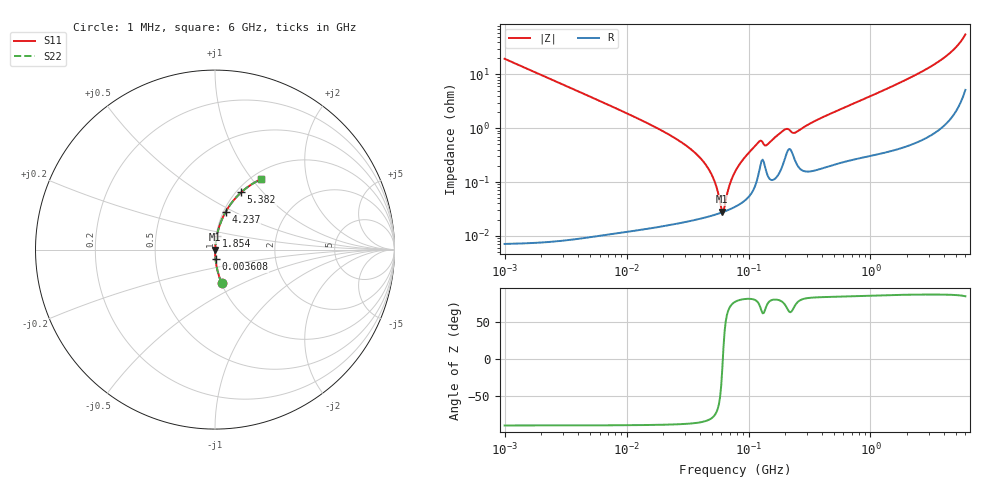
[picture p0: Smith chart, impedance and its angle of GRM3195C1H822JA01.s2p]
!Murata Part Number: GRM3195C1H822JA01
!These Parameters are Measured in Series Mode Connection
!Data Generated on Mar 30, 2021
!  o--ll--o
!Port1  Port2
!  o------o
!Operation Temp=25[degC], DC Bias Voltage=0[V]
!Freq. Start=1000[kHz] Stop=6[GHz] 401[Steps]
# Hz S RI R 50
!Freq.(Hz) S11(Real) S11(Imag) S21(Real) S21(Imag) S12(Real) S12(Imag) S22(Real) S22(Imag)
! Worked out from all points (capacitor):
!   401 points, 1 MHz to 6 GHz, reference 50 ohm
!   read as one part in series: C = 8.12 nF near 1.044 MHz
!   lowest |Z| = 28 mohm at 60.98 MHz (marker M1)
!   series resonance near 61.57 MHz, so ESL is about 820 pH
!   S11 on the Smith chart (normalised r, x): 1 MHz: 1.00, -0.39; 3.608 MHz: 1.00, -0.11; 1.854 GHz: 1.01, +0.15; 4.237 GHz: 1.03, +0.45; 5.382 GHz: 1.06, +0.77; 6 GHz: 1.10, +1.11
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1000000  0.037 -0.1887  0.963 0.1887  0.963 0.1887  0.037 -0.1887
3608090  0.003 -0.054  0.997 0.054  0.997 0.054  0.003 -0.054
4293785  0.00215 -0.0453  0.9979 0.0453  0.9979 0.0453  0.00215 -0.0453
1.843659e7  0.000239 -0.00965  0.9998 0.00965  0.9998 0.00965  0.000239 -0.00965
3.040356e7  0.000204 -0.00486  0.9998 0.00486  0.9998 0.00486  0.000204 -0.00486
4.213132e7  0.000219 -0.00247  0.9998 0.00247  0.9998 0.00247  0.000219 -0.00247
5.124051e7  0.000242 -0.00118  0.9998 0.00118  0.9998 0.00118  0.000242 -0.00118
6.097846e7  0.000273 -6.13e-05  0.9997 6.13e-05  0.9997 6.13e-05  0.000273 -6.13e-05
6.368941e7  0.000284 0.000218  0.9997 -0.000218  0.9997 -0.000218  0.000284 0.000218
6.947823e7  0.000308 0.000782  0.9997 -0.000782  0.9997 -0.000782  0.000308 0.000782
7.745967e7  0.000347 0.00151  0.9997 -0.00151  0.9997 -0.00151  0.000347 0.00151
9.218041e7  0.00045 0.00275  0.9996 -0.00275  0.9996 -0.00275  0.00045 0.00275
1.223006e8  0.00163 0.00542  0.9984 -0.00542  0.9984 -0.00542  0.00163 0.00542
1.424119e8  0.0014 0.00475  0.9986 -0.00475  0.9986 -0.00475  0.0014 0.00475
1.973453e8  0.00266 0.00898  0.9973 -0.00898  0.9973 -0.00898  0.00266 0.00898
2.400133e8  0.00261 0.00781  0.9974 -0.00781  0.9974 -0.00781  0.00261 0.00781
3.325952e8  0.00176 0.0127  0.9982 -0.0127  0.9982 -0.0127  0.00176 0.0127
1.428092e9  0.00686 0.0563  0.9931 -0.0563  0.9931 -0.0563  0.00686 0.0563
1.853962e9  0.0099 0.0741  0.9901 -0.0741  0.9901 -0.0741  0.0099 0.0741
4.236675e9  0.059 0.2094  0.941 -0.2094  0.941 -0.2094  0.059 0.2094
5.38176e9  0.1462 0.3193  0.8538 -0.3193  0.8538 -0.3193  0.1462 0.3193
6e9  0.2549 0.3915  0.7451 -0.3915  0.7451 -0.3915  0.2549 0.3915
